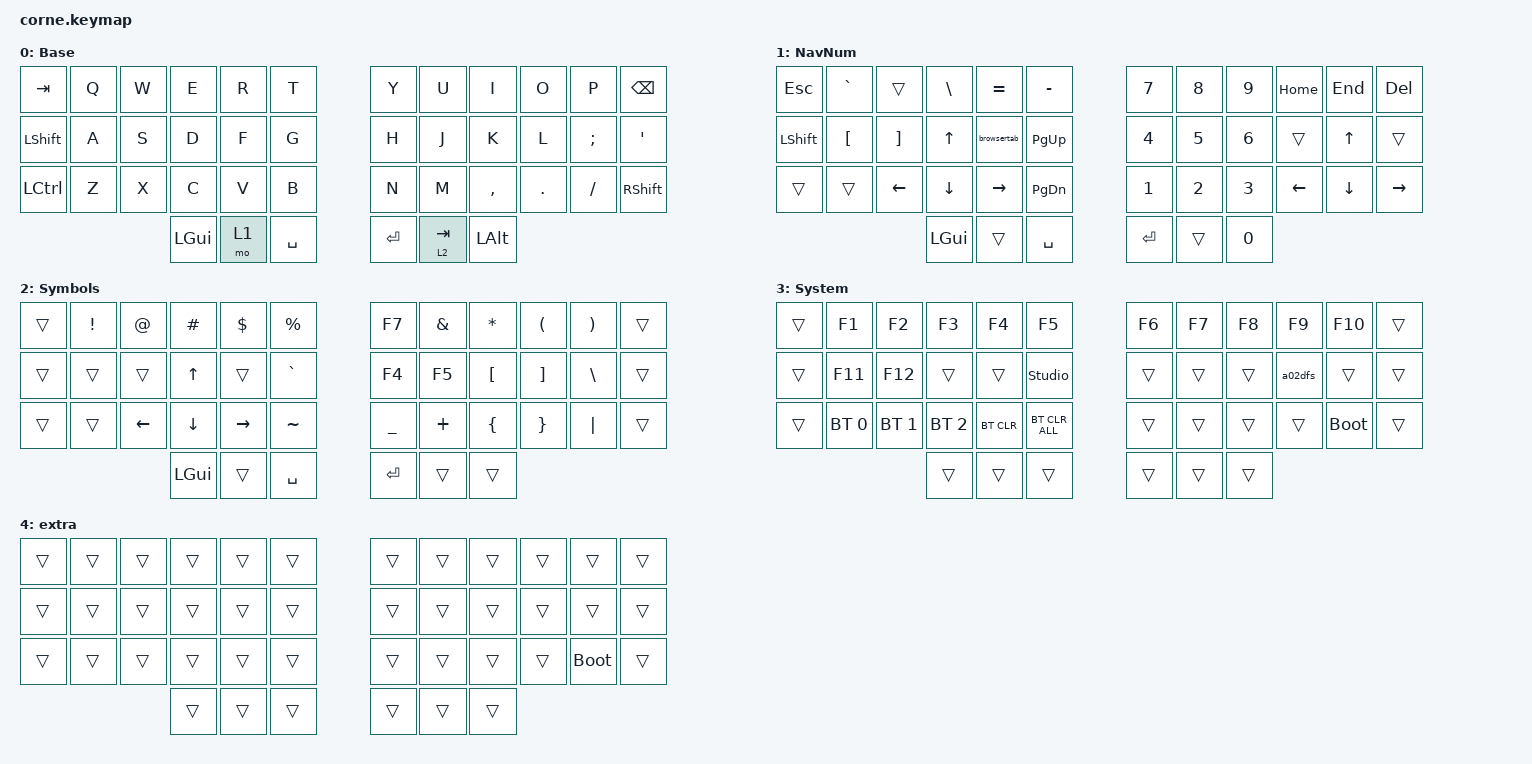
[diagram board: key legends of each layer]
#include <behaviors.dtsi>
#include <dt-bindings/zmk/bt.h>
#include <dt-bindings/zmk/keys.h>

#define DEF 0
#define NAV 1
#define SYM 2
#define ADJ 3
#define EXTRA 4

/ {
    behaviors {
        hm: homerow_mods {
            compatible = "zmk,behavior-hold-tap";
            label = "HOMEROW_MODS";
            #binding-cells = <2>;
            tapping-term-ms = <200>;
            quick_tap_ms = <0>;
            flavor = "tap-preferred";
            bindings = <&kp>, <&kp>;

            quick-tap-ms = <180>;
            global-quick-tap;
        };

        para: para {
            compatible = "zmk,behavior-tap-dance";
            label = "PARA";
            #binding-cells = <0>;
            bindings = <&kp LEFT_PARENTHESIS>, <&kp RIGHT_PARENTHESIS>;
        };

        caps: caps {
            compatible = "zmk,behavior-caps-word";
            label = "CAPS";
            #binding-cells = <0>;
            continue-list = <MINUS BACKSPACE>;
        };

        paraless: paraless {
            compatible = "zmk,behavior-mod-morph";
            label = "PARALESS";
            bindings = <&kp LEFT_PARENTHESIS>, <&kp LESS_THAN>;

            #binding-cells = <0>;
            mods = <(MOD_LSFT)>;
        };

        paragreat: paragreat {
            compatible = "zmk,behavior-mod-morph";
            label = "PARAGREAT";
            bindings = <&kp RIGHT_PARENTHESIS>, <&kp GREATER_THAN>;

            #binding-cells = <0>;
            mods = <(MOD_LSFT)>;
        };
    };

    macros {
        browsertab: browsertab {
            compatible = "zmk,behavior-macro";
            #binding-cells = <0>;
            bindings =
                <&macro_press>,
                <&kp LCTRL>,
                <&macro_tap>,
                <&kp TAB>,
                <&macro_release>,
                <&kp LCTRL>;
        };

        a02dfs: a02dfs {
            compatible = "zmk,behavior-macro";
            #binding-cells = <0>;
            bindings = <&none &kp BSLH &kp BSLH &kp A &kp N0 &kp N2 &kp DOT &kp C &kp I &kp S &kp H &kp O &kp C &kp DOT &kp C &kp O &kp M &kp BSLH &kp D &kp F &kp S>;
            label = "A02DFS";
        };
    };

    combos {
        compatible = "zmk,combos";

        escape {
            bindings = <&kp ESCAPE>;
            key-positions = <13 29>;
        };

        delete {
            bindings = <&kp DELETE>;
            key-positions = <15 21>;
        };

        perc {
            bindings = <&kp PERCENT>;
            key-positions = <5 17>;
        };

        equal {
            bindings = <&kp EQUAL>;
            key-positions = <28 16>;
        };

        dollar {
            bindings = <&kp DOLLAR>;
            key-positions = <4 16>;
        };

        pound {
            bindings = <&kp POUND>;
            key-positions = <3 15>;
        };

        at {
            bindings = <&kp AT>;
            key-positions = <2 14>;
        };

        backslash {
            bindings = <&kp BACKSLASH>;
            key-positions = <26 14>;
        };

        copy {
            bindings = <&kp K_COPY>;
            key-positions = <28 27>;
        };

        paste {
            bindings = <&kp K_PASTE>;
            key-positions = <26 27>;
        };

        star {
            bindings = <&kp STAR>;
            key-positions = <8 20>;
        };

        slash {
            bindings = <&kp SLASH>;
            key-positions = <32 20>;
        };

        plus {
            bindings = <&kp PLUS>;
            key-positions = <7 19>;
        };

        minus {
            bindings = <&kp KP_MINUS>;
            key-positions = <31 19>;
        };

        underscore {
            bindings = <&kp UNDER>;
            key-positions = <30 18>;
        };

        leftbrack {
            bindings = <&kp LEFT_BRACKET>;
            key-positions = <31 32>;
        };

        rightbrack {
            bindings = <&kp RIGHT_BRACKET>;
            key-positions = <33 32>;
        };

        para-less {
            bindings = <&paraless>;
            key-positions = <20 19>;
        };

        para-great {
            bindings = <&paragreat>;
            key-positions = <20 21>;
        };

        exclaim {
            bindings = <&kp EXCLAMATION>;
            key-positions = <1 13>;
        };
    };

    //

    keymap {
        compatible = "zmk,keymap";

        DEF {
            display-name = "Base";

            // -----------------------------------------------------------------------------------------
            // |  Q  |  W  |  E  |  R  |  T  |   |  Y  |  U   |  I  |  O  |  P  |
            // |  A  |  S  |  D  |  F  |  G  |   |  H  |  J   |  K  |  L  |  ;  |
            // |  Z  |  X  |  C  |  V  |  B  |   |  N  |  M   |  ,  |  .  |  /  |
            // | GUI | CTRL | SHFT | LWR | SPC |   | ENT | RSE  | BKSP | ALT | ESC |

            bindings = <
&kp TAB    &kp Q  &kp W  &kp E     &kp R  &kp T        &kp Y    &kp U      &kp I         &kp O    &kp P     &kp BACKSPACE
&kp LSHFT  &kp A  &kp S  &kp D     &kp F  &kp G        &kp H    &kp J      &kp K         &kp L    &kp SEMI  &kp SQT
&kp LCTRL  &kp Z  &kp X  &kp C     &kp V  &kp B        &kp N    &kp M      &kp COMMA     &kp DOT  &kp FSLH  &kp RSHFT
                         &kp LGUI  &mo 1  &kp SPACE    &kp RET  &lt 2 TAB  &kp LEFT_ALT
            >;
        };

        NAV {
            display-name = "NavNum";

            // -----------------------------------------------------------------------------------------
            // |  TAB |  1  |  2  |  3  |  4  |  5  |   |  6  |  7  |  8  |  9  |  0  | BKSP |
            // | BTCLR| BT1 | BT2 | BT3 | BT4 | BT5 |   | LFT | DWN |  UP | RGT |     |      |
            // | SHFT |     |     |     |     |     |   |     |     |     |     |     |      |
            // | GUI | CTRL | SHFT | LWR | SPC |   | ENT | RSE  | BKSP | ALT | ESC |

            bindings = <
&kp ESC         &kp GRAVE         &trans             &kp BSLH      &kp EQUAL        &kp MINUS        &kp N7        &kp N8        &kp N9        &kp HOME        &kp END         &kp DELETE
&kp LEFT_SHIFT  &kp LEFT_BRACKET  &kp RIGHT_BRACKET  &kp UP_ARROW  &browsertab      &kp PAGE_UP      &kp NUMBER_4  &kp N5        &kp NUMBER_6  &trans          &kp UP_ARROW    &trans
&trans          &trans            &kp LEFT           &kp DOWN      &kp RIGHT_ARROW  &kp PAGE_DOWN    &kp NUMBER_1  &kp NUMBER_2  &kp NUMBER_3  &kp LEFT_ARROW  &kp DOWN_ARROW  &kp RIGHT_ARROW
                                                     &kp LGUI      &trans           &kp SPACE        &kp RET       &trans        &kp N0
            >;
        };

        SYM {
            display-name = "Symbols";

            // -----------------------------------------------------------------------------------------
            // |  TAB |  !  |  @  |  #  |  $  |  %  |   |  ^  |  &  |  *  |  (  |  )  | BKSP |
            // | CTRL |     |     |     |     |     |   |  -  |  =  |  [  |  ]  |  \  |  `   |
            // | SHFT |     |     |     |     |     |   |  _  |  +  |  {  |  }  | "|" |  ~   |
            //                    | GUI |     | SPC |   | ENT |     | ALT |

            bindings = <
&trans  &kp EXCL  &kp AT          &kp HASH        &kp DLLR         &kp PRCNT    &kp F7     &kp AMPS  &kp ASTRK  &kp LEFT_PARENTHESIS  &kp RPAR  &trans
&trans  &trans    &trans          &kp UP_ARROW    &trans           &kp GRAVE    &kp F4     &kp F5    &kp LBKT   &kp RBKT              &kp BSLH  &trans
&trans  &trans    &kp LEFT_ARROW  &kp DOWN_ARROW  &kp RIGHT_ARROW  &kp TILDE    &kp UNDER  &kp PLUS  &kp LBRC   &kp RBRC              &kp PIPE  &trans
                                  &kp LGUI        &trans           &kp SPACE    &kp RET    &trans    &trans
            >;
        };

        ADJ {
            display-name = "System";
            bindings = <
&trans  &kp F1        &kp F2        &kp F3        &kp F4      &kp F5            &kp F6  &kp F7  &kp F8  &kp F9   &kp F10      &trans
&trans  &kp F11       &kp F12       &trans        &trans      &studio_unlock    &trans  &trans  &trans  &a02dfs  &trans       &trans
&trans  &bt BT_SEL 0  &bt BT_SEL 1  &bt BT_SEL 2  &bt BT_CLR  &bt BT_CLR_ALL    &trans  &trans  &trans  &trans   &bootloader  &trans
                                    &trans        &trans      &trans            &trans  &trans  &trans
            >;
        };

        EXTRA {
            display-name = "extra";
            bindings = <
&trans  &trans  &trans  &trans  &trans  &trans    &trans  &trans  &trans  &trans  &trans       &trans
&trans  &trans  &trans  &trans  &trans  &trans    &trans  &trans  &trans  &trans  &trans       &trans
&trans  &trans  &trans  &trans  &trans  &trans    &trans  &trans  &trans  &trans  &bootloader  &trans
                        &trans  &trans  &trans    &trans  &trans  &trans
            >;
        };
    };

    conditional_layers {
        compatible = "zmk,conditional-layers";

        l3 {
            if-layers = <1 2>;
            then-layer = <3>;
        };
    };
};
